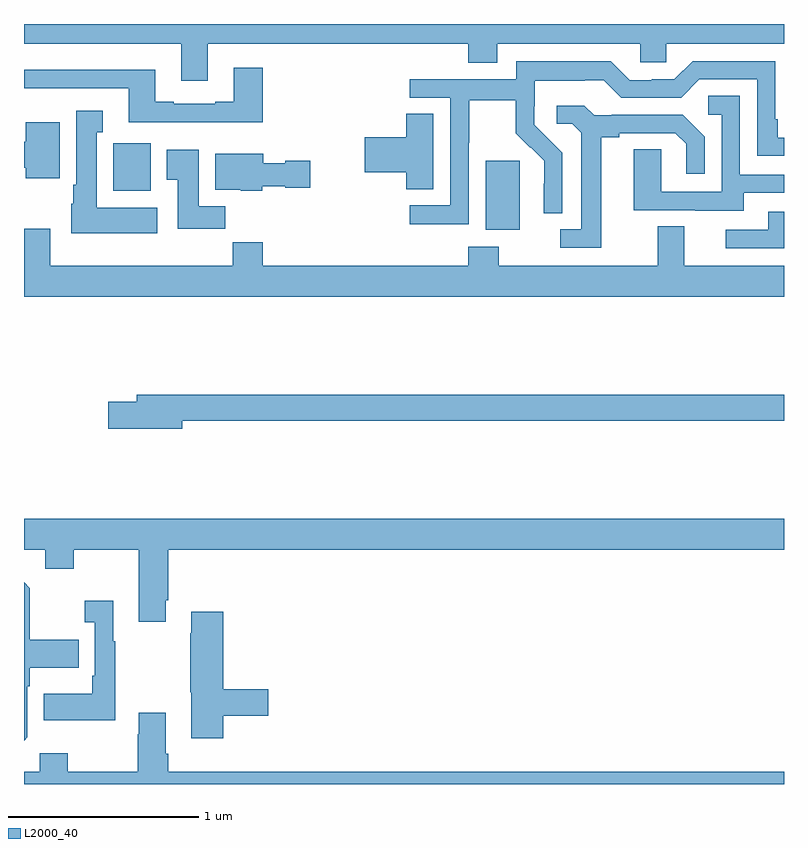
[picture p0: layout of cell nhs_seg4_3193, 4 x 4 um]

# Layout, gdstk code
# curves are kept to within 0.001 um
import gdstk
lib = gdstk.Library(unit=1e-6, precision=1e-09)
def R(c, l, rs):  # rectangles x0, y0, x1, y1
    for r in rs: c.add(gdstk.rectangle(r[:2], r[2:], *l))
def P(c, l, *ps):  # polygons
    for p in ps: c.add(gdstk.Polygon(p, *l))
L2000_40 = (2000, 40)

nhs_seg4_3193 = lib.new_cell('nhs_seg4_3193')
R(nhs_seg4_3193, L2000_40, [(281.429,819.818,281.608,820.179), (279.471,820.022,279.667,820.272)])
P(nhs_seg4_3193, L2000_40, [(279.967,820.796),(281.339,820.796),(281.339,820.697),(281.491,820.697),(281.491,820.796),(282.243,820.796),(282.243,820.698),(282.381,820.698),(282.381,820.796),(283,820.796),(283,820.9),(279,820.9),(279,820.796),(279.827,820.796),(279.827,820.602),(279.967,820.602)],
  [(281.34,820.276),(281.343,820.276),(281.343,820.5),(281.587,820.5),(281.587,820.325),(281.664,820.248),(281.667,820.251),(281.738,820.181),(281.738,820.058),(281.736,820.058),(281.736,819.904),(281.832,819.904),(281.832,820.222),(281.686,820.37),(281.686,820.467),(281.688,820.467),(281.688,820.601),(281.951,820.601),(281.951,820.605),(282.051,820.605),(282.144,820.512),(282.459,820.512),(282.555,820.608),(282.858,820.608),(282.858,820.206),(283,820.206),(283,820.302),(282.967,820.302),(282.967,820.399),(282.954,820.399),(282.954,820.704),(282.519,820.704),(282.423,820.608),(282.305,820.608),(282.305,820.605),(282.189,820.605),(282.089,820.705),(281.592,820.705),(281.592,820.608),(281.031,820.608),(281.031,820.512),(281.244,820.512),(281.244,819.945),(281.031,819.945),(281.031,819.847),(281.34,819.847)],
  [(280.256,820.669),(280.103,820.669),(280.103,820.492),(280.007,820.492),(280.007,820.479),(279.787,820.479),(279.787,820.492),(279.691,820.492),(279.691,820.66),(279,820.66),(279,820.563),(279.551,820.563),(279.551,820.382),(280.256,820.382)],
  [(282.787,820.011),(283,820.011),(283,820.107),(282.768,820.107),(282.768,820.523),(282.6,820.523),(282.6,820.422),(282.672,820.422),(282.672,820.017),(282.354,820.017),(282.354,820.241),(282.209,820.241),(282.209,819.921),(282.533,819.921),(282.533,819.917),(282.787,819.917)],
  [(282.037,820.304),(282.133,820.304),(282.133,820.326),(282.428,820.326),(282.485,820.269),(282.485,820.113),(282.582,820.113),(282.582,820.306),(282.466,820.422),(282.094,820.422),(282.094,820.419),(282,820.419),(281.948,820.471),(281.805,820.471),(281.805,820.374),(281.886,820.374),(281.933,820.327),(281.933,819.819),(281.823,819.819),(281.823,819.723),(282.037,819.723)],
  [(279.7,819.934),(279.382,819.934),(279.382,820.331),(279.415,820.331),(279.415,820.444),(279.275,820.444),(279.275,820.054),(279.26,820.054),(279.26,819.954),(279.248,819.954),(279.248,819.8),(279.7,819.8)],
  [(281.155,820.427),(281.012,820.427),(281.012,820.304),(280.794,820.304),(280.794,820.121),(281.012,820.121),(281.012,820.03),(281.155,820.03)],
  [(279.187,820.384),(279.008,820.384),(279.008,820.28),(279,820.28),(279,820.144),(279.008,820.144),(279.008,820.088),(279.187,820.088)],
  [(280.058,819.94),(279.919,819.94),(279.919,820.237),(279.752,820.237),(279.752,820.081),(279.809,820.081),(279.809,819.822),(280.058,819.822)],
  [(280.254,820.046),(280.374,820.046),(280.374,820.039),(280.507,820.039),(280.507,820.181),(280.374,820.181),(280.374,820.168),(280.258,820.168),(280.258,820.216),(280.007,820.216),(280.007,820.028),(280.14,820.028),(280.14,820.022),(280.254,820.022)],
  [(283,819.912),(282.917,819.912),(282.917,819.816),(282.693,819.816),(282.693,819.72),(283,819.72)],
  [(283,819.628),(282.475,819.628),(282.475,819.836),(282.335,819.836),(282.335,819.628),(281.499,819.628),(281.499,819.727),(281.339,819.727),(281.339,819.628),(280.256,819.628),(280.256,819.752),(280.099,819.752),(280.099,819.628),(279.139,819.628),(279.139,819.823),(279,819.823),(279,819.464),(283,819.464)],
  [(279.832,818.812),(283,818.812),(283,818.948),(279.593,818.948),(279.593,818.912),(279.444,818.912),(279.444,818.77),(279.832,818.77)],
  [(279.745,817.867),(279.758,817.867),(279.758,818.132),(283,818.132),(283,818.296),(279,818.296),(279,818.132),(279.113,818.132),(279.113,818.033),(279.261,818.033),(279.261,818.132),(279.605,818.132),(279.605,817.755),(279.745,817.755)],
  [(279.018,817.146),(279.018,817.415),(279.031,817.415),(279.031,817.511),(279.287,817.511),(279.287,817.659),(279.031,817.659),(279.031,817.931),(279,817.962),(279,817.128)],
  [(279.481,817.651),(279.469,817.651),(279.469,817.864),(279.321,817.864),(279.321,817.751),(279.372,817.751),(279.372,817.471),(279.36,817.471),(279.36,817.375),(279.103,817.375),(279.103,817.235),(279.481,817.235)],
  [(280.049,817.258),(280.285,817.258),(280.285,817.4),(280.049,817.4),(280.049,817.807),(279.881,817.807),(279.881,817.694),(279.874,817.694),(279.874,817.383),(279.881,817.383),(279.881,817.14),(280.049,817.14)],
  [(283,816.964),(279.758,816.964),(279.758,817.06),(279.745,817.06),(279.745,817.276),(279.605,817.276),(279.605,817.163),(279.598,817.163),(279.598,816.964),(279.231,816.964),(279.231,817.063),(279.084,817.063),(279.084,816.964),(279,816.964),(279,816.9),(283,816.9)])

lib.write_gds('nhs_seg4_3193.gds')
